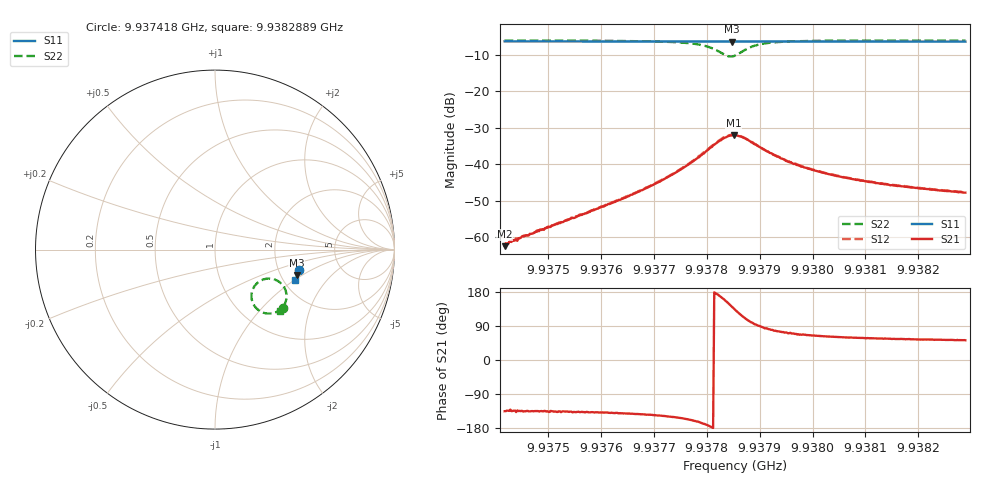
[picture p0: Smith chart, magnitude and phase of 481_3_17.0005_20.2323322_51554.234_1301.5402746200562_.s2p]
#  HZ  S  RI  R  50.00
! Rohde & Schwarz Vector Network Analyzer
! Rohde-Schwarz,ZNB20-2Port,1311601062101988,3.16
! Created: UTC 3/20/2024, 11:13:41 PM
! freq[Hz]  re:S11  im:S11  re:S21  im:S21  re:S12  im:S12  re:S22  im:S22
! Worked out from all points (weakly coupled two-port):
!   401 points, 9.937418 GHz to 9.9382889 GHz, reference 50 ohm
!   highest |S21| = -32.02 dB at 9.9378513 GHz (marker M1); lowest = -62.4 dB at 9.937418 GHz (marker M2)
!   lowest |S11| = -6.4 dB at 9.9378469 GHz (marker M3), VSWR 2.83, Z = 122 - j45.2 ohm
!   |S11| at or under -10 dB: nowhere
!   |S22| runs from -10.5 to -6.1 dB; largest |S21 - S12| = 0.00097
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9.93741803e9  0.4688 -0.1162  -0.000535 -0.000533  -0.000553 -0.000569  0.3764 -0.3246
9.93743109e9  0.4685 -0.1171  -0.000609 -0.000609  -0.00059 -0.000621  0.3752 -0.3255
9.93745504e9  0.468 -0.1187  -0.000734 -0.000728  -0.000748 -0.000744  0.3733 -0.3275
9.9375639e9  0.4657 -0.1261  -0.00147 -0.00139  -0.00153 -0.00139  0.3609 -0.337
9.9376401e9  0.4638 -0.1313  -0.00259 -0.00214  -0.00265 -0.00214  0.3478 -0.345
9.93770977e9  0.462 -0.1359  -0.00476 -0.00317  -0.00491 -0.00317  0.3255 -0.3535
9.93775549e9  0.4607 -0.1391  -0.00802 -0.00387  -0.00825 -0.0038  0.2965 -0.3564
9.93779904e9  0.4586 -0.1419  -0.015 -0.00245  -0.0152 -0.00215  0.2421 -0.3369
9.93781428e9  0.4578 -0.1425  -0.0186 0.000507  -0.0188 0.000748  0.2171 -0.3093
9.93782734e9  0.457 -0.143  -0.0207 0.00522  -0.0214 0.00584  0.2033 -0.2682
9.93783823e9  0.4566 -0.143  -0.0213 0.0108  -0.0214 0.0116  0.2095 -0.2239
9.93784693e9  0.4563 -0.143  -0.0194 0.0154  -0.0193 0.0163  0.2308 -0.1906
9.93785129e9  0.4566 -0.143  -0.0179 0.0175  -0.0177 0.0182  0.2464 -0.1778
9.93785347e9  0.4566 -0.143  -0.0171 0.0183  -0.0167 0.0192  0.2551 -0.1725
9.93786653e9  0.457 -0.1434  -0.0106 0.0212  -0.01 0.0216  0.309 -0.1618
9.93787959e9  0.4574 -0.144  -0.00489 0.0207  -0.00434 0.0209  0.3515 -0.1757
9.93790354e9  0.4575 -0.1459  0.000744 0.0167  0.00117 0.0167  0.3884 -0.216
9.93795362e9  0.4568 -0.1499  0.00362 0.0102  0.00375 0.0103  0.3978 -0.2706
9.93799934e9  0.4555 -0.1531  0.0036 0.00758  0.00379 0.0076  0.3924 -0.2945
9.93805812e9  0.4541 -0.1571  0.00333 0.00575  0.00345 0.00574  0.3845 -0.3111
9.93814521e9  0.4518 -0.1628  0.00291 0.00432  0.00306 0.00437  0.3751 -0.3257
9.9382889e9  0.4477 -0.1721  0.00251 0.00322  0.00262 0.00324  0.3629 -0.3401
